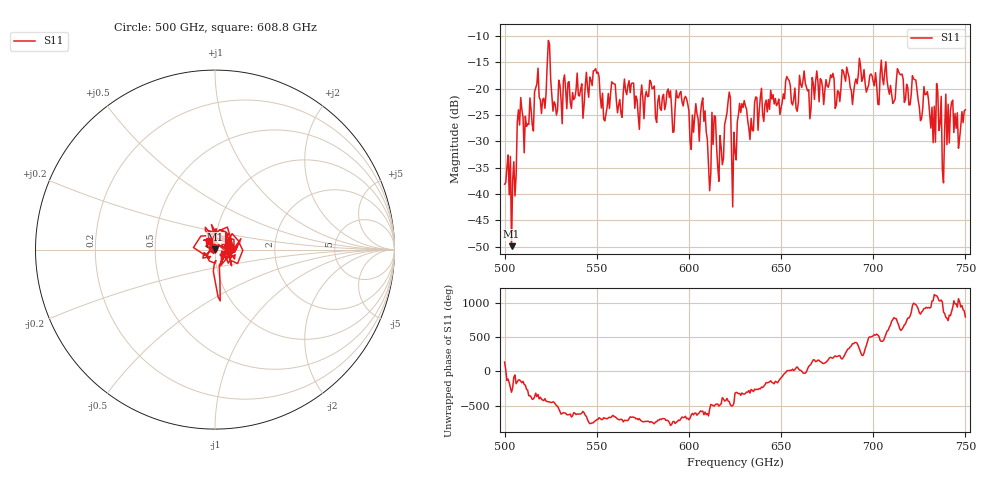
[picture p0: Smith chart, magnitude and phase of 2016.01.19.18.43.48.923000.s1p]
!Created with skrf (http://scikit-rf.org).
# GHz S RI R 50.0
!freq ReS11 ImS11
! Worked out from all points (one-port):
!   401 points, 500 GHz to 750 GHz, reference 50 ohm
!   lowest |S11| = -49.9 dB at 503.8 GHz (marker M1), VSWR 1.01, Z = 50.2 + j0.266 ohm
!   |S11| at or under -10 dB: start of sweep to end of sweep
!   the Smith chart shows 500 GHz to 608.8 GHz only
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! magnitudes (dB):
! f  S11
! 500 GHz  -38.1
! 503.8 GHz  -49.9
! 505 GHz  -33.9
! 508.1 GHz  -26.9
! 521.2 GHz  -21.8
! 523.8 GHz  -10.8
! 527.5 GHz  -23.0
! 531.2 GHz  -26.7
! 549.4 GHz  -16.2
! 553.8 GHz  -25.8
! 558.8 GHz  -19.0
! 562.5 GHz  -22.1
! 593.8 GHz  -21.7
! 601.9 GHz  -25.0
! 607.5 GHz  -21.8
! 610.6 GHz  -34.6
! 613.8 GHz  -25.1
! 617.5 GHz  -31.2
! 621.2 GHz  -22.4
! 625 GHz  -32.0
! 628.8 GHz  -22.8
! 633.8 GHz  -25.6
! 656.2 GHz  -23.1
! 687.5 GHz  -19.7
! 718.8 GHz  -19.8
! 735.6 GHz  -27.9
! 738.8 GHz  -27.8
! 750 GHz  -24.0
